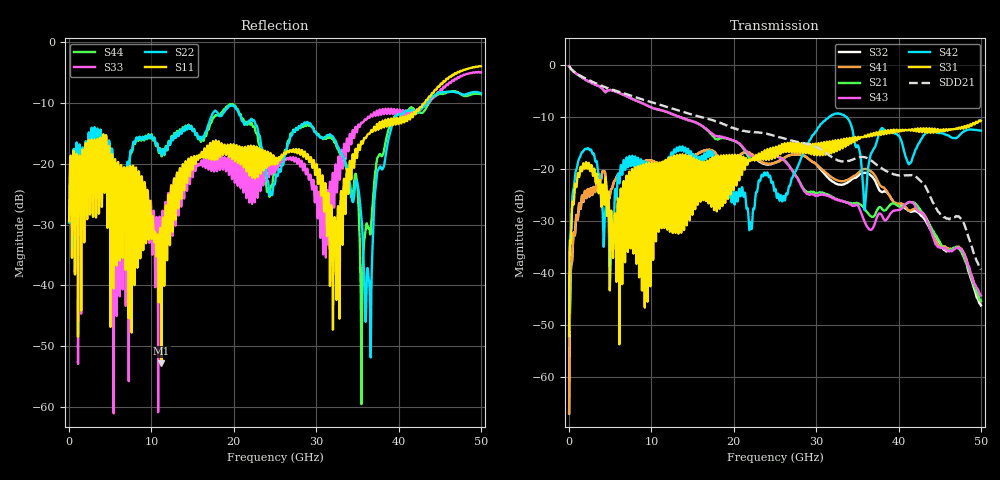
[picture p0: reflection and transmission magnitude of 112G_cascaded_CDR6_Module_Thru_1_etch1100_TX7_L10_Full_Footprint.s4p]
! Created Tue Feb 26 10:56:03 2019
# hz S ma R 50
! 4 Port Network Data from SP1.SP block
! freq  magS11  angS11  magS12  angS12  magS13  angS13  magS14  angS14
!  magS21  angS21  magS22  angS22  magS23  angS23  magS24  angS24
!  magS31  angS31  magS32  angS32  magS33  angS33  magS34  angS34
!  magS41  angS41  magS42  angS42  magS43  angS43  magS44  angS44
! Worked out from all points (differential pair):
!   5000 points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, 10 MHz to 50 GHz, reference 50 ohm
!   strongest paths, dB at 10 MHz, 12.51 GHz, 25.01 GHz, 37.51 GHz, 50 GHz:
!     S31: -52.2, -20.6, -17.5, -13.6, -10.8
!     S42: -52.2, -17.1, -24.0, -14.0, -12.7
!     S43: -0.3, -9.5, -17.5, -28.9, -44.4
!     S21: -0.3, -9.5, -17.5, -27.7, -45.4
!     S41: -67.0, -18.3, -18.8, -22.4, -45.5
!     S32: -67.0, -18.3, -18.8, -23.6, -46.3
!   taken as a pair (ports 3,1 in; 4,2 out), SDD21 dB: -0.3, -8.4, -13.7, -19.4, -39.4
!   lowest |S11| = -52.8 dB at 11.22 GHz (marker M1), VSWR 1.00, Z = 50.1 + j0.216 ohm
!   |S11| at or under -10 dB: start of sweep to 43.17 GHz
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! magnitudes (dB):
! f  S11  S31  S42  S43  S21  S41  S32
! 10 MHz  -29.4  -52.2  -52.2  -0.3  -0.3  -67.0  -67.0
! 1.75 GHz  -20.3  -19.0  -16.6  -2.7  -2.7  -26.3  -26.4
! 11.22 GHz  -52.8  -31.1  -21.2  -8.7  -8.8  -18.8  -18.9
! 31.84 GHz  -26.8  -17.0  -9.8  -25.5  -25.3  -21.6  -22.3
! 36.5 GHz  -15.0  -13.7  -18.1  -31.7  -29.0  -20.3  -21.1
! 39.6 GHz  -13.4  -13.0  -13.3  -28.0  -26.8  -26.5  -26.6
! 50 GHz  -3.9  -10.8  -12.7  -44.4  -45.4  -45.5  -46.3
